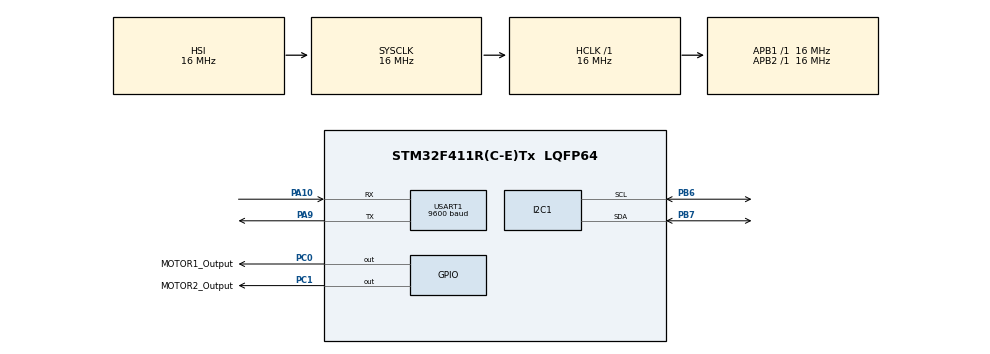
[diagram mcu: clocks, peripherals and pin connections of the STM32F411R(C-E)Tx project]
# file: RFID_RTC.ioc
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Mcu.Family=STM32F4
Mcu.Name=STM32F411R(C-E)Tx
Mcu.Package=LQFP64
NVIC.PriorityGroup=NVIC_PRIORITYGROUP_4
NVIC.RTC_Alarm_IRQn=true\:0\:0\:false\:false\:true\:true\:true\:true
NVIC.USART1_IRQn=true\:0\:0\:false\:false\:true\:true\:true\:true
PA10.Mode=Asynchronous
PA10.Signal=USART1_RX
PA9.Mode=Asynchronous
PA9.Signal=USART1_TX
PB6.Mode=I2C
PB6.Signal=I2C1_SCL
PB7.Mode=I2C
PB7.Signal=I2C1_SDA
PC0.GPIO_Label=MOTOR1_Output
PC0.Signal=GPIO_Output
PC1.GPIO_Label=MOTOR2_Output
PC1.Signal=GPIO_Output
ProjectManager.HeapSize=0x200
ProjectManager.StackSize=0x400
ProjectManager.TargetToolchain=STM32CubeIDE
RCC.AHBFreq_Value=16000000
RCC.APB1Freq_Value=16000000
RCC.APB2Freq_Value=16000000
RCC.CortexFreq_Value=16000000
RCC.HSE_VALUE=25000000
RCC.HSI_VALUE=16000000
RCC.LSE_VALUE=32768
RCC.SYSCLKFreq_VALUE=16000000
RCC.VCOOutputFreq_Value=192000000
RTC.Alarm=RTC_ALARM_A
RTC.Date=27
RTC.Format=RTC_FORMAT_BIN
RTC.Hours=7
RTC.Minutes=59
RTC.Month=RTC_MONTH_DECEMBER
RTC.Seconds=45
RTC.Seconds_A=10
RTC.WeekDay=RTC_WEEKDAY_TUESDAY
RTC.Year=22
USART1.BaudRate=9600
USART1.VirtualMode=VM_ASYNC
VP_RTC_VS_RTC_Activate.Mode=RTC_Enabled
VP_RTC_VS_RTC_Alarm_A_Intern.Mode=Alarm A
VP_RTC_VS_RTC_Calendar.Mode=RTC_Calendar
board=custom

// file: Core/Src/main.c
/* USER CODE BEGIN Header */
/**
  **************************
  * @file           : main.c
  * @brief          : Main program body
  **************************
  * @attention
  *
  * Copyright (c) 2022 STMicroelectronics.
  * All rights reserved.
  *
  * This software is licensed under terms that can be found in the LICENSE file
  * in the root directory of this software component.
  * If no LICENSE file comes with this software, it is provided AS-IS.
  *
  **************************
  */
/* USER CODE END Header */
#include<stdio.h>
#include "main.h"
#include<string.h>
#include"lcd.h"

I2C_HandleTypeDef hi2c1;

RTC_HandleTypeDef hrtc;

UART_HandleTypeDef huart1;

RTC_HandleTypeDef hrtc;
RTC_TimeTypeDef sTime;
RTC_DateTypeDef sDate;
/* USER CODE BEGIN PV */
void MOTOR_Init(void);
void TimeTaken_Init(void);
/* USER CODE END PV */

void SystemClock_Config(void);
static void MX_GPIO_Init(void);
static void MX_I2C1_Init(void);
static void MX_RTC_Init(void);
static void MX_USART1_UART_Init(void);
/* USER CODE BEGIN PFP */
#define TRUE 1
#define FALSE 0
/* USER CODE END PFP */

/* USER CODE BEGIN 0 */
char *USER_DATA="Sankalp!";
uint8_t recvd_data;
	uint8_t data_buf[50];
	uint8_t count=0;
	uint8_t rec_comp_data=FALSE;
	char str[20];
/* USER CODE END 0 */

int main(void)
{

  /* MCU Configuration--------------------------------------------------------*/

  /* Reset of all peripherals, Initializes the Flash interface and the Systick. */
  HAL_Init();
  LCD_init();

  /* Configure the system clock */
  SystemClock_Config();

  /* Initialize all configured peripherals */
  MX_GPIO_Init();
  MX_I2C1_Init();
  MX_RTC_Init();
  MX_USART1_UART_Init();
  /* USER CODE BEGIN 2 */
	//  SET TIME
	  sTime.Hours = 15;
	  sTime.Minutes = 59;
	  sTime.Seconds = 45;
	  HAL_RTC_SetTime(&hrtc, &sTime, RTC_FORMAT_BIN);

	//  SET DATE
	  sDate.Date = 26;
	  sDate.Month = RTC_MONTH_DECEMBER;
	  sDate.WeekDay = RTC_WEEKDAY_MONDAY;
	  sDate.Year = 22;
	  HAL_RTC_SetDate(&hrtc, &sDate, RTC_FORMAT_BIN);
	  while (1)
	  {
	    /* USER CODE END WHILE */
		  HAL_RTC_GetTime(&hrtc, &sTime, RTC_FORMAT_BIN);

		  HAL_RTC_GetDate(&hrtc, &sDate, RTC_FORMAT_BIN);

		  HAL_Delay(200);
	    /* USER CODE BEGIN 3 */
		  if(HAL_GPIO_ReadPin(GPIOA, 10) == 0)
		  {
			  uint16_t len_of_data=strlen(USER_DATA);
			   HAL_UART_Transmit(&huart1, (uint8_t*)USER_DATA,len_of_data, HAL_MAX_DELAY);
			   while(rec_comp_data != TRUE)
			   {
				  HAL_UART_Receive_IT(&huart1,&recvd_data,1);
			   }
			   while(1);
			   return 0;
		  }
	  }
    /* USER CODE BEGIN 3 */

  /* USER CODE END 3 */
}

void HAL_UART_RxCpltCallback(UART_HandleTypeDef *huart)
{
	data_buf[count++]=recvd_data;
	if(strcmp(data_buf,"18")==0)
	{
		LCD_string("WELCOME ON BOARD");
		LCD_command(0xC4);
		LCD_string("SANKALP!");
		MOTOR_Init();
	}
	else if(strcmp(data_buf,"3E")==0)
	{
		LCD_string("WELCOME ON BOARD");
		LCD_command(0xC4);
		LCD_string("NARESH!");
		MOTOR_Init();

	}
	else if(strcmp(data_buf,"55")==0)
	{
		LCD_string("WELCOME ON BOARD");
		LCD_command(0xC4);
		LCD_string("SANDEEP!");
		MOTOR_Init();
	}
}

void MOTOR_Init()
{
	HAL_GPIO_WritePin(GPIOC, GPIO_PIN_0, 1);       //For Gate Open
	HAL_GPIO_WritePin(GPIOC, GPIO_PIN_1, 0);
	delay(3000);
	HAL_GPIO_WritePin(GPIOC, GPIO_PIN_0, 0);        //Stop
	HAL_GPIO_WritePin(GPIOC, GPIO_PIN_1, 0);
	delay(2000);
	HAL_GPIO_WritePin(GPIOC, GPIO_PIN_0, 0);       //For Gate Close
	HAL_GPIO_WritePin(GPIOC, GPIO_PIN_1, 1);
	delay(3000);
	HAL_GPIO_WritePin(GPIOC, GPIO_PIN_0, 0);        //Stop
	HAL_GPIO_WritePin(GPIOC, GPIO_PIN_1, 0);
}

//void TimeTaken_Init()
//{
//	  HAL_Init();
//
//	  /* USER CODE BEGIN Init */
//
//	  /* USER CODE END Init */
//
//	  /* Configure the system clock */
//	  SystemClock_Config();
//
//	  /* USER CODE BEGIN SysInit */
//
//	  /* USER CODE END SysInit */
//
//	  /* Initialize all configured peripherals */
//	  MX_GPIO_Init();
//	  MX_I2C1_Init();
//	  MX_RTC_Init();
//	  /* USER CODE BEGIN 2 */
//		//  SET TIME
//		  sTime.Hours = 15;
//		  sTime.Minutes = 59;
//		  sTime.Seconds = 45;
//		  HAL_RTC_SetTime(&hrtc, &sTime, RTC_FORMAT_BIN);
//
//		//  SET DATE
//		  sDate.Date = 26;
//		  sDate.Month = RTC_MONTH_DECEMBER;
//		  sDate.WeekDay = RTC_WEEKDAY_MONDAY;
//		  sDate.Year = 22;
//		  HAL_RTC_SetDate(&hrtc, &sDate, RTC_FORMAT_BIN);
//	  /* USER CODE END 2 */
//
//	  /* Infinite loop */
//	  /* USER CODE BEGIN WHILE */
//	  while (1)
//	  {
//	    /* USER CODE END WHILE */
//		  HAL_RTC_GetTime(&hrtc, &sTime, RTC_FORMAT_BIN);
//
//		  HAL_RTC_GetDate(&hrtc, &sDate, RTC_FORMAT_BIN);
//
//		  HAL_Delay(200);
//	    /* USER CODE BEGIN 3 */
//	  }
//}
void SystemClock_Config(void)
{
  RCC_OscInitTypeDef RCC_OscInitStruct = {0};
  RCC_ClkInitTypeDef RCC_ClkInitStruct = {0};

  /** Configure the main internal regulator output voltage
  */
  __HAL_RCC_PWR_CLK_ENABLE();
  __HAL_PWR_VOLTAGESCALING_CONFIG(PWR_REGULATOR_VOLTAGE_SCALE1);

  /** Initializes the RCC Oscillators according to the specified parameters
  * in the RCC_OscInitTypeDef structure.
  */
  RCC_OscInitStruct.OscillatorType = RCC_OSCILLATORTYPE_HSI|RCC_OSCILLATORTYPE_LSI;
  RCC_OscInitStruct.HSIState = RCC_HSI_ON;
  RCC_OscInitStruct.HSICalibrationValue = RCC_HSICALIBRATION_DEFAULT;
  RCC_OscInitStruct.LSIState = RCC_LSI_ON;
  RCC_OscInitStruct.PLL.PLLState = RCC_PLL_NONE;
  if (HAL_RCC_OscConfig(&RCC_OscInitStruct) != HAL_OK)
  {
    Error_Handler();
  }

  /** Initializes the CPU, AHB and APB buses clocks
  */
  RCC_ClkInitStruct.ClockType = RCC_CLOCKTYPE_HCLK|RCC_CLOCKTYPE_SYSCLK
                              |RCC_CLOCKTYPE_PCLK1|RCC_CLOCKTYPE_PCLK2;
  RCC_ClkInitStruct.SYSCLKSource = RCC_SYSCLKSOURCE_HSI;
  RCC_ClkInitStruct.AHBCLKDivider = RCC_SYSCLK_DIV1;
  RCC_ClkInitStruct.APB1CLKDivider = RCC_HCLK_DIV1;
  RCC_ClkInitStruct.APB2CLKDivider = RCC_HCLK_DIV1;

  if (HAL_RCC_ClockConfig(&RCC_ClkInitStruct, FLASH_LATENCY_0) != HAL_OK)
  {
    Error_Handler();
  }
}

static void MX_I2C1_Init(void)
{

  hi2c1.Instance = I2C1;
  hi2c1.Init.ClockSpeed = 100000;
  hi2c1.Init.DutyCycle = I2C_DUTYCYCLE_2;
  hi2c1.Init.OwnAddress1 = 0;
  hi2c1.Init.AddressingMode = I2C_ADDRESSINGMODE_7BIT;
  hi2c1.Init.DualAddressMode = I2C_DUALADDRESS_DISABLE;
  hi2c1.Init.OwnAddress2 = 0;
  hi2c1.Init.GeneralCallMode = I2C_GENERALCALL_DISABLE;
  hi2c1.Init.NoStretchMode = I2C_NOSTRETCH_DISABLE;
  if (HAL_I2C_Init(&hi2c1) != HAL_OK)
  {
    Error_Handler();
  }

}

static void MX_RTC_Init(void)
{

  RTC_TimeTypeDef sTime = {0};
  RTC_DateTypeDef sDate = {0};
  RTC_AlarmTypeDef sAlarm = {0};

  /** Initialize RTC Only
  */
  hrtc.Instance = RTC;
  hrtc.Init.HourFormat = RTC_HOURFORMAT_24;
  hrtc.Init.AsynchPrediv = 127;
  hrtc.Init.SynchPrediv = 255;
  hrtc.Init.OutPut = RTC_OUTPUT_DISABLE;
  hrtc.Init.OutPutPolarity = RTC_OUTPUT_POLARITY_HIGH;
  hrtc.Init.OutPutType = RTC_OUTPUT_TYPE_OPENDRAIN;
  if (HAL_RTC_Init(&hrtc) != HAL_OK)
  {
    Error_Handler();
  }

  /** Initialize RTC and set the Time and Date
  */
  sTime.Hours = 9;
  sTime.Minutes = 59;
  sTime.Seconds = 45;
  sTime.DayLightSaving = RTC_DAYLIGHTSAVING_NONE;
  sTime.StoreOperation = RTC_STOREOPERATION_RESET;
  if (HAL_RTC_SetTime(&hrtc, &sTime, RTC_FORMAT_BIN) != HAL_OK)
  {
    Error_Handler();
  }
  sDate.WeekDay = RTC_WEEKDAY_TUESDAY;
  sDate.Month = RTC_MONTH_DECEMBER;
  sDate.Date = 27;
  sDate.Year = 22;

  if (HAL_RTC_SetDate(&hrtc, &sDate, RTC_FORMAT_BIN) != HAL_OK)
  {
    Error_Handler();
  }

  /** Enable the Alarm A
  */
  sAlarm.AlarmTime.Hours = 0;
  sAlarm.AlarmTime.Minutes = 0;
  sAlarm.AlarmTime.Seconds = 10;
  sAlarm.AlarmTime.SubSeconds = 0;
  sAlarm.AlarmTime.DayLightSaving = RTC_DAYLIGHTSAVING_NONE;
  sAlarm.AlarmTime.StoreOperation = RTC_STOREOPERATION_RESET;
  sAlarm.AlarmMask = RTC_ALARMMASK_NONE;
  sAlarm.AlarmSubSecondMask = RTC_ALARMSUBSECONDMASK_ALL;
  sAlarm.AlarmDateWeekDaySel = RTC_ALARMDATEWEEKDAYSEL_DATE;
  sAlarm.AlarmDateWeekDay = 1;
  sAlarm.Alarm = RTC_ALARM_A;
  if (HAL_RTC_SetAlarm_IT(&hrtc, &sAlarm, RTC_FORMAT_BIN) != HAL_OK)
  {
    Error_Handler();
  }

}

static void MX_USART1_UART_Init(void)
{

  huart1.Instance = USART1;
  huart1.Init.BaudRate = 9600;
  huart1.Init.WordLength = UART_WORDLENGTH_8B;
  huart1.Init.StopBits = UART_STOPBITS_1;
  huart1.Init.Parity = UART_PARITY_NONE;
  huart1.Init.Mode = UART_MODE_TX_RX;
  huart1.Init.HwFlowCtl = UART_HWCONTROL_NONE;
  huart1.Init.OverSampling = UART_OVERSAMPLING_16;
  if (HAL_UART_Init(&huart1) != HAL_OK)
  {
    Error_Handler();
  }

}

static void MX_GPIO_Init(void)
{
  GPIO_InitTypeDef GPIO_InitStruct = {0};

  /* GPIO Ports Clock Enable */
  __HAL_RCC_GPIOC_CLK_ENABLE();
  __HAL_RCC_GPIOA_CLK_ENABLE();
  __HAL_RCC_GPIOB_CLK_ENABLE();

  /*Configure GPIO pin Output Level */
  HAL_GPIO_WritePin(GPIOC, MOTOR1_Output_Pin|MOTOR2_Output_Pin, GPIO_PIN_RESET);

  /*Configure GPIO pins : MOTOR1_Output_Pin MOTOR2_Output_Pin */
  GPIO_InitStruct.Pin = MOTOR1_Output_Pin|MOTOR2_Output_Pin;
  GPIO_InitStruct.Mode = GPIO_MODE_OUTPUT_PP;
  GPIO_InitStruct.Pull = GPIO_NOPULL;
  GPIO_InitStruct.Speed = GPIO_SPEED_FREQ_LOW;
  HAL_GPIO_Init(GPIOC, &GPIO_InitStruct);

}

void Error_Handler(void)
{
  __disable_irq();
  while (1)
  {
  }
}
